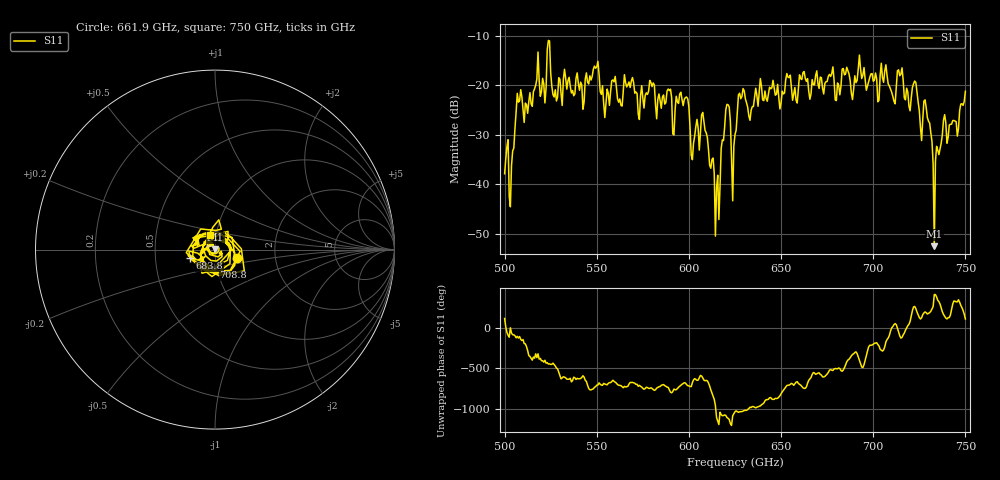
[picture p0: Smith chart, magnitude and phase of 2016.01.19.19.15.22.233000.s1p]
!Created with skrf (http://scikit-rf.org).
# GHz S RI R 50.0
!freq ReS11 ImS11
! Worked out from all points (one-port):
!   401 points, 500 GHz to 750 GHz, reference 50 ohm
!   lowest |S11| = -52.5 dB at 733.1 GHz (marker M1), VSWR 1.00, Z = 50.1 + j0.183 ohm
!   |S11| at or under -10 dB: start of sweep to end of sweep
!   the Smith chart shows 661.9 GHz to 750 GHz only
!   S11 on the Smith chart (normalised r, x): 661.9 GHz: 1.28, -0.13; 683.8 GHz: 0.75, -0.07; 708.8 GHz: 0.97, -0.19; 750 GHz: 0.93, +0.15
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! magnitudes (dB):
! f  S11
! 500 GHz  -37.9
! 503.8 GHz  -36.2
! 508.1 GHz  -23.1
! 520.6 GHz  -18.6
! 524.4 GHz  -11.0
! 526.9 GHz  -22.4
! 531.2 GHz  -24.1
! 549.4 GHz  -16.6
! 553.8 GHz  -23.6
! 562.5 GHz  -22.8
! 593.8 GHz  -23.3
! 598.8 GHz  -22.4
! 601.9 GHz  -35.0
! 608.1 GHz  -27.3
! 615.6 GHz  -38.2
! 620.6 GHz  -23.9
! 625 GHz  -30.0
! 628.1 GHz  -22.7
! 656.2 GHz  -23.0
! 661.9 GHz  -17.5
! 683.8 GHz  -16.6
! 687.5 GHz  -19.1
! 708.8 GHz  -20.2
! 718.8 GHz  -21.4
! 728.8 GHz  -24.6
! 733.1 GHz  -52.5
! 738.1 GHz  -27.1
! 750 GHz  -21.2
